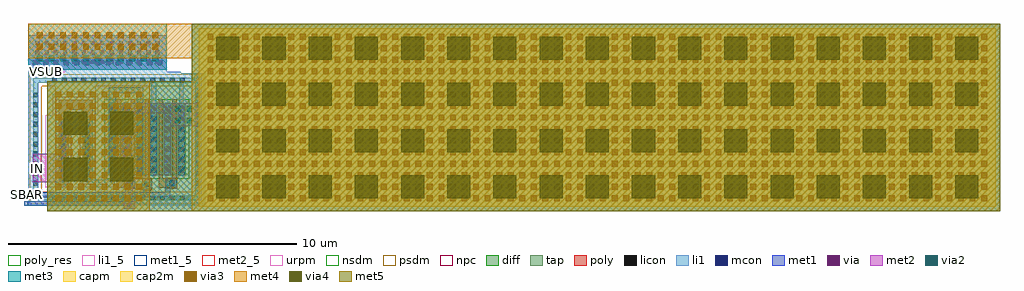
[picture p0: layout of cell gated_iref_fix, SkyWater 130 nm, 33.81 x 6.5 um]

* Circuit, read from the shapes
.subckt gated_iref_fix IN S SBAR VSUB
XM1 n1 S n2 VSUB sky130_fd_pr__nfet_01v8 w=2.5 l=0.15 m=2
XM2 VSUB VSUB n2 VSUB sky130_fd_pr__nfet_01v8 w=2.5 l=0.15
XM3 n1 SBAR VSUB VSUB sky130_fd_pr__nfet_01v8 w=2.5 l=0.15 m=2
XC4 VSUB n1 sky130_fd_pr__cap_mim_m3_1 w=27.6 l=6.2
XC5 n1 VSUB sky130_fd_pr__cap_mim_m3_2 w=27.6 l=6.2
XR6 IN n2 VSUB sky130_fd_pr__res_xhigh_po w=0.35 l=1.84
.ends

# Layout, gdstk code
import gdstk
lib = gdstk.Library(unit=1e-6, precision=1e-09)
def R(c, l, rs):  # rectangles x0, y0, x1, y1
    for r in rs: c.add(gdstk.rectangle(r[:2], r[2:], *l))
def A(c, l, x, y, w, h, nx, ny, dx, dy):  # array of equal rectangles
    R(c, l, [(x+i*dx, y+j*dy, x+i*dx+w, y+j*dy+h) for i in range(nx) for j in range(ny)])
diff = (65, 20)
tap = (65, 44)
poly_res = (66, 13)
poly = (66, 20)
licon = (66, 44)
li1_5 = (67, 5)
li1 = (67, 20)
mcon = (67, 44)
met1_5 = (68, 5)
met1 = (68, 20)
via = (68, 44)
met2_5 = (69, 5)
met2 = (69, 20)
via2 = (69, 44)
met3 = (70, 20)
via3 = (70, 44)
met4 = (71, 20)
via4 = (71, 44)
met5 = (72, 20)
urpm = (79, 20)
capm = (89, 44)
nsdm = (93, 44)
psdm = (94, 20)
npc = (95, 20)
cap2m = (97, 44)

gated_iref_fix = lib.new_cell('gated_iref_fix')
R(gated_iref_fix, diff, [(8.1,0.75,10.79,3.25)])
R(gated_iref_fix, tap, [(5.51,-0.12,11.3,0.05), (5.51,0.05,5.68,3.95), (11.13,0.05,11.3,3.95), (5.51,3.95,11.3,4.12)])
R(gated_iref_fix, poly_res, [(6.39,2.63,6.74,3.02), (7.22,2.63,7.57,3.02), (6.39,3.02,7.57,3.37)])
R(gated_iref_fix, poly, [(9.285,0.22,9.6,0.66), (8.41,0.31,9.04,0.64), (9.85,0.31,10.48,0.64), (6.39,0.53,6.74,3.02), (7.22,0.53,7.57,3.02), (8.41,0.64,8.56,3.38), (8.89,0.64,9.04,3.38), (9.85,0.64,10,3.38), (10.33,0.64,10.48,3.38), (9.37,0.66,9.52,3.38), (6.39,3.02,7.57,3.37)])
A(gated_iref_fix, licon, 6.16, -0.12, 0.17, 0.17, 14, 2, 0.34, 4.07)
A(gated_iref_fix, licon, 5.51, 0.385, 0.17, 0.17, 1, 10, 0, 0.34)
A(gated_iref_fix, licon, 11.13, 0.385, 0.17, 0.17, 1, 10, 0, 0.34)
A(gated_iref_fix, licon, 8.16, 0.895, 0.17, 0.17, 6, 7, 0.48, 0.34)
R(gated_iref_fix, licon, [(9.36,0.355,9.53,0.525), (8.79,0.39,8.96,0.56), (10.23,0.39,10.4,0.56), (6.47,0.61,6.66,2.61), (7.3,0.61,7.49,2.61)])
R(gated_iref_fix, li1_5, [(5.34,4.31,6.62,4.4)])
R(gated_iref_fix, li1, [(5.34,-0.29,11.47,0.05), (5.34,0.05,5.68,3.95), (9.345,0.05,9.545,0.355), (11.13,0.05,11.47,3.95), (6.39,0.335,6.74,2.69), (7.22,0.335,8.33,0.59), (9.28,0.355,9.61,0.525), (8.71,0.39,9.04,0.56), (10.15,0.39,10.48,0.56), (7.22,0.59,7.57,2.69), (8.16,0.59,8.33,3.27), (8.64,0.73,8.81,3.27), (9.12,0.73,9.29,3.27), (9.6,0.73,9.77,3.95), (10.08,0.73,10.25,3.27), (10.56,0.73,10.73,3.95), (5.34,3.95,11.47,4.29), (5.34,4.29,10.62,4.33), (5.34,4.33,10.14,4.9)])
A(gated_iref_fix, mcon, 6.48, 0.545, 0.17, 0.17, 1, 6, 0, 0.36)
A(gated_iref_fix, mcon, 8.16, 0.835, 0.17, 0.17, 6, 7, 0.48, 0.36)
A(gated_iref_fix, mcon, 5.495, 4.565, 0.17, 0.17, 13, 1, 0.36, 0)
R(gated_iref_fix, mcon, [(8.79,0.39,8.96,0.56), (10.23,0.39,10.4,0.56)])
R(gated_iref_fix, met1_5, [(5.2,-0.31,5.32,-0.15), (5.2,0,5.32,0.16)])
R(gated_iref_fix, met1, [(8.64,-0.405,9.04,-0.315), (5.195,-0.315,9.045,-0.145), (5.19,-0.005,10.25,0.165), (10.08,0.165,10.25,0.36), (8.64,0.33,9.04,0.59), (6.39,0.335,6.74,2.69), (10.08,0.36,10.48,0.59), (10.035,0.745,10.295,3.25), (8.13,0.75,8.36,3.59), (8.595,0.75,8.855,3.25), (9.09,0.75,9.32,3.59), (9.57,0.75,9.8,3.25), (10.53,0.75,10.76,3.25), (8.13,3.59,9.32,3.79), (5.34,4.4,10.14,5.6)])
A(gated_iref_fix, via, 6.49, 0.645, 0.15, 0.15, 1, 6, 0, 0.32)
A(gated_iref_fix, via, 8.65, 0.965, 0.15, 0.15, 1, 7, 0, 0.32)
A(gated_iref_fix, via, 10.09, 0.965, 0.15, 0.15, 1, 7, 0, 0.32)
A(gated_iref_fix, via, 5.585, 4.605, 0.15, 0.15, 14, 3, 0.32, 0.32)
R(gated_iref_fix, via, [(8.755,-0.35,8.905,-0.2), (8.75,0.385,8.9,0.535)])
R(gated_iref_fix, met2_5, [(5.5,0.5,5.79,1.5)])
R(gated_iref_fix, met2, [(8.64,-0.405,9.04,-0.145), (8.7,-0.145,8.96,0.33), (8.64,0.33,9.04,0.59), (6.39,0.335,6.74,0.5), (5.5,0.5,6.74,1.5), (10.035,0.745,10.295,2.45), (8.595,0.75,8.855,2.9), (6.39,1.5,6.74,2.69), (10.035,2.45,11.2,2.9), (8.595,2.9,11.2,3.25), (5.34,4.4,10.14,5.6)])
A(gated_iref_fix, via2, 5.64, 4.7, 0.2, 0.2, 11, 2, 0.4, 0.4)
R(gated_iref_fix, via2, [(10.425,2.55,10.625,2.75), (10.825,2.55,11.025,2.75), (10.425,2.95,10.625,3.15), (10.825,2.95,11.025,3.15)])
R(gated_iref_fix, met3, [(6,-0.5,39,4), (11,4,39,6), (5.34,4.4,10.14,6)])
A(gated_iref_fix, via3, 6.275, -0.15, 0.2, 0.2, 8, 10, 0.4, 0.4)
A(gated_iref_fix, via3, 11.55, -0.15, 0.2, 0.2, 68, 15, 0.4, 0.4)
A(gated_iref_fix, via3, 5.64, 5.1, 0.2, 0.2, 11, 2, 0.4, 0.4)
R(gated_iref_fix, met4, [(6,-0.5,9.55,4), (11,-0.5,39,4.8), (5.34,4.8,39,6)])
A(gated_iref_fix, via4, 11.85, -0.05, 0.8, 0.8, 17, 4, 1.6, 1.6)
R(gated_iref_fix, via4, [(6.575,0.55,7.375,1.35), (8.175,0.55,8.975,1.35), (6.575,2.15,7.375,2.95), (8.175,2.15,8.975,2.95)])
R(gated_iref_fix, met5, [(6,-0.5,39,4), (11,4,39,6)])
R(gated_iref_fix, urpm, [(5.93,0.33,8.03,2.82), (6.19,2.82,7.77,3.57)])
R(gated_iref_fix, capm, [(11.25,-0.35,38.85,5.85)])
R(gated_iref_fix, nsdm, [(7.975,0.625,10.915,3.375)])
R(gated_iref_fix, psdm, [(5.385,-0.245,11.425,0.175), (5.385,0.175,5.805,3.825), (6.28,0.175,7.68,3.825), (11.005,0.175,11.425,3.825), (5.385,3.825,11.425,4.245)])
R(gated_iref_fix, npc, [(9.26,0.255,9.63,0.29), (8.69,0.29,9.63,0.625), (10.13,0.29,10.5,0.66), (6.295,0.435,6.835,2.925), (7.125,0.435,7.665,2.925), (8.69,0.625,9.06,0.66), (6.295,2.925,7.665,3.465)])
R(gated_iref_fix, cap2m, [(11.25,-0.35,38.85,5.85)])
gated_iref_fix.add(gdstk.Label('IN', (5.645,1), layer=69, texttype=5))
gated_iref_fix.add(gdstk.Label('VSUB', (5.98,4.355), layer=67, texttype=5))
gated_iref_fix.add(gdstk.Label('SBAR', (5.26,0.08), layer=68, texttype=5))
gated_iref_fix.add(gdstk.Label('S', (5.26,-0.23), layer=68, texttype=5))

lib.write_gds('gated_iref_fix.gds')
